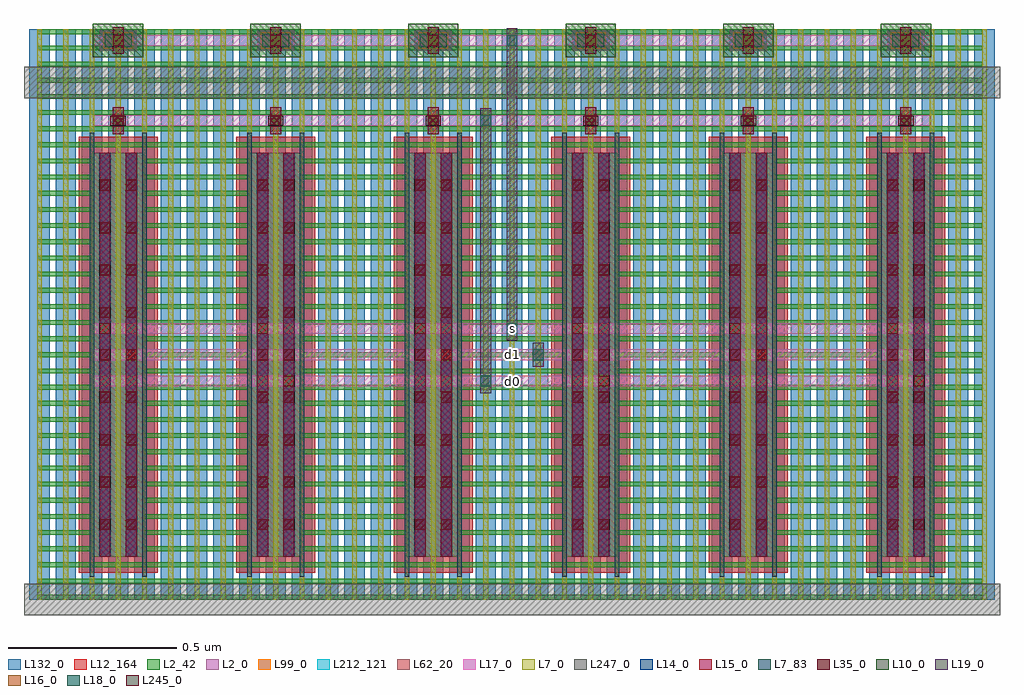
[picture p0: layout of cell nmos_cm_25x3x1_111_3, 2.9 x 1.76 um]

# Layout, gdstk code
import gdstk
lib = gdstk.Library(unit=1e-6, precision=1e-12)
def R(c, l, rs):  # rectangles x0, y0, x1, y1
    for r in rs: c.add(gdstk.rectangle(r[:2], r[2:], *l))
def A(c, l, x, y, w, h, nx, ny, dx, dy):  # array of equal rectangles
    R(c, l, [(x+i*dx, y+j*dy, x+i*dx+w, y+j*dy+h) for i in range(nx) for j in range(ny)])
L2_0 = (2, 0)
L2_42 = (2, 42)
L7_0 = (7, 0)
L7_83 = (7, 83)
L10_0 = (10, 0)
L12_164 = (12, 164)
L14_0 = (14, 0)
L15_0 = (15, 0)
L16_0 = (16, 0)
L17_0 = (17, 0)
L18_0 = (18, 0)
L19_0 = (19, 0)
L35_0 = (35, 0)
L62_20 = (62, 20)
L99_0 = (99, 0)
L132_0 = (132, 0)
L212_121 = (212, 121)
L245_0 = (245, 0)
L247_0 = (247, 0)

nmos_cm_25x3x1_111_3 = lib.new_cell('nmos_cm_25x3x1_111_3')
A(nmos_cm_25x3x1_111_3, L2_0, 0.186, 0.127, 0.156, 1.2, 6, 1, 0.468, 0)
A(nmos_cm_25x3x1_111_3, L2_0, 0.209, 1.631, 0.11, 0.06, 6, 1, 0.468, 0)
A(nmos_cm_25x3x1_111_3, L2_42, 0.023, 0, 2.808, 0.014, 1, 36, 0, 0.048)
A(nmos_cm_25x3x1_111_3, L7_0, 0.023, 0, 0.014, 1.694, 37, 1, 0.078, 0)
R(nmos_cm_25x3x1_111_3, L7_83, [(0.179,0.067,0.193,1.387), (0.335,0.067,0.349,1.387), (0.647,0.067,0.661,1.387), (0.803,0.067,0.817,1.387), (1.115,0.067,1.129,1.387), (1.271,0.067,1.285,1.387), (1.583,0.067,1.597,1.387), (1.739,0.067,1.753,1.387), (2.051,0.067,2.065,1.387), (2.207,0.067,2.221,1.387), (2.519,0.067,2.533,1.387), (2.675,0.067,2.689,1.387)])
A(nmos_cm_25x3x1_111_3, L10_0, 0.189, 1.611, 0.15, 0.1, 6, 1, 0.468, 0)
A(nmos_cm_25x3x1_111_3, L12_164, 0.147, 0.079, 0.234, 1.296, 6, 1, 0.468, 0)
A(nmos_cm_25x3x1_111_3, L14_0, 0.224, 1.641, 0.08, 0.04, 6, 1, 0.468, 0)
R(nmos_cm_25x3x1_111_3, L14_0, [(0.208,0.127,0.242,1.327), (0.286,0.127,0.32,1.327), (0.676,0.127,0.71,1.327), (0.754,0.127,0.788,1.327), (1.144,0.127,1.178,1.327), (1.222,0.127,1.256,1.327), (1.612,0.127,1.646,1.327), (1.69,0.127,1.724,1.327), (2.08,0.127,2.114,1.327), (2.158,0.127,2.192,1.327), (2.548,0.127,2.582,1.327), (2.626,0.127,2.66,1.327)])
A(nmos_cm_25x3x1_111_3, L15_0, 0.248, 1.382, 0.032, 0.08, 6, 2, 0.468, 0.239)
R(nmos_cm_25x3x1_111_3, L15_0, [(0.209,0.127,0.241,1.327), (0.287,0.127,0.319,1.327), (0.677,0.127,0.709,1.327), (0.755,0.127,0.787,1.327), (1.145,0.127,1.177,1.327), (1.223,0.127,1.255,1.327), (1.613,0.127,1.645,1.327), (1.691,0.127,1.723,1.327), (2.081,0.127,2.113,1.327), (2.159,0.127,2.191,1.327), (2.549,0.127,2.581,1.327), (2.627,0.127,2.659,1.327)])
A(nmos_cm_25x3x1_111_3, L16_0, 0.755, 0.633, 0.032, 0.032, 3, 1, 0.936, 0)
A(nmos_cm_25x3x1_111_3, L16_0, 0.287, 0.711, 0.032, 0.032, 3, 1, 0.936, 0)
A(nmos_cm_25x3x1_111_3, L16_0, 0.209, 0.789, 0.032, 0.032, 6, 1, 0.468, 0)
A(nmos_cm_25x3x1_111_3, L16_0, 0.248, 1.407, 0.032, 0.032, 6, 2, 0.468, 0.238)
A(nmos_cm_25x3x1_111_3, L17_0, 0.189, 0.633, 0.15, 0.032, 6, 3, 0.468, 0.078)
A(nmos_cm_25x3x1_111_3, L17_0, 0.329, 0.633, 0.338, 0.032, 1, 3, 0, 0.078)
A(nmos_cm_25x3x1_111_3, L17_0, 0.189, 1.407, 0.15, 0.032, 6, 2, 0.468, 0.238)
R(nmos_cm_25x3x1_111_3, L17_0, [(0.797,0.633,1.135,0.665), (0.797,0.633,1.135,0.665), (1.265,0.633,1.603,0.665), (1.265,0.633,1.603,0.665), (1.265,0.633,1.603,0.665), (1.733,0.633,2.071,0.665), (1.733,0.633,2.071,0.665), (1.733,0.633,2.071,0.665), (1.733,0.633,2.071,0.665), (2.201,0.633,2.539,0.665), (2.201,0.633,2.539,0.665), (2.201,0.633,2.539,0.665), (2.201,0.633,2.539,0.665), (2.201,0.633,2.539,0.665), (0.797,0.711,1.135,0.743), (0.797,0.711,1.135,0.743), (1.265,0.711,1.603,0.743), (1.265,0.711,1.603,0.743), (1.265,0.711,1.603,0.743), (1.733,0.711,2.071,0.743), (1.733,0.711,2.071,0.743), (1.733,0.711,2.071,0.743), (1.733,0.711,2.071,0.743), (2.201,0.711,2.539,0.743), (2.201,0.711,2.539,0.743), (2.201,0.711,2.539,0.743), (2.201,0.711,2.539,0.743), (2.201,0.711,2.539,0.743), (0.797,0.789,1.135,0.821), (0.797,0.789,1.135,0.821), (1.265,0.789,1.603,0.821), (1.265,0.789,1.603,0.821), (1.265,0.789,1.603,0.821), (1.733,0.789,2.071,0.821), (1.733,0.789,2.071,0.821), (1.733,0.789,2.071,0.821), (1.733,0.789,2.071,0.821), (2.201,0.789,2.539,0.821), (2.201,0.789,2.539,0.821), (2.201,0.789,2.539,0.821), (2.201,0.789,2.539,0.821), (2.201,0.789,2.539,0.821), (0.329,1.407,0.667,1.439), (0.797,1.407,1.135,1.439), (0.797,1.407,1.135,1.439), (1.265,1.407,1.603,1.439), (1.265,1.407,1.603,1.439), (1.265,1.407,1.603,1.439), (1.733,1.407,2.071,1.439), (1.733,1.407,2.071,1.439), (1.733,1.407,2.071,1.439), (1.733,1.407,2.071,1.439), (2.201,1.407,2.539,1.439), (2.201,1.407,2.539,1.439), (2.201,1.407,2.539,1.439), (2.201,1.407,2.539,1.439), (2.201,1.407,2.539,1.439), (0.329,1.645,0.667,1.677), (0.797,1.645,1.135,1.677), (0.797,1.645,1.135,1.677), (1.265,1.645,1.603,1.677), (1.265,1.645,1.603,1.677), (1.265,1.645,1.603,1.677), (1.733,1.645,2.071,1.677), (1.733,1.645,2.071,1.677), (1.733,1.645,2.071,1.677), (1.733,1.645,2.071,1.677), (2.201,1.645,2.539,1.677), (2.201,1.645,2.539,1.677), (2.201,1.645,2.539,1.677), (2.201,1.645,2.539,1.677), (2.201,1.645,2.539,1.677)])
R(nmos_cm_25x3x1_111_3, L18_0, [(1.34,0.633,1.372,0.665), (1.34,0.633,1.372,0.665), (1.496,0.711,1.528,0.743), (1.496,0.711,1.528,0.743), (1.418,0.789,1.45,0.821), (1.418,0.789,1.45,0.821), (1.34,1.407,1.372,1.439), (1.34,1.407,1.372,1.439), (1.418,1.645,1.45,1.677), (1.418,1.645,1.45,1.677)])
R(nmos_cm_25x3x1_111_3, L19_0, [(1.34,0.613,1.372,1.459), (1.496,0.691,1.528,0.763), (1.418,0.769,1.45,1.697)])
A(nmos_cm_25x3x1_111_3, L35_0, 0.209, 0.207, 0.032, 0.032, 1, 9, 0, 0.126)
A(nmos_cm_25x3x1_111_3, L35_0, 0.287, 0.207, 0.032, 0.032, 1, 9, 0, 0.126)
A(nmos_cm_25x3x1_111_3, L35_0, 0.677, 0.207, 0.032, 0.032, 1, 9, 0, 0.126)
A(nmos_cm_25x3x1_111_3, L35_0, 0.755, 0.207, 0.032, 0.032, 1, 9, 0, 0.126)
A(nmos_cm_25x3x1_111_3, L35_0, 1.145, 0.207, 0.032, 0.032, 1, 9, 0, 0.126)
A(nmos_cm_25x3x1_111_3, L35_0, 1.223, 0.207, 0.032, 0.032, 1, 9, 0, 0.126)
A(nmos_cm_25x3x1_111_3, L35_0, 1.613, 0.207, 0.032, 0.032, 1, 9, 0, 0.126)
A(nmos_cm_25x3x1_111_3, L35_0, 1.691, 0.207, 0.032, 0.032, 1, 9, 0, 0.126)
A(nmos_cm_25x3x1_111_3, L35_0, 2.081, 0.207, 0.032, 0.032, 1, 9, 0, 0.126)
A(nmos_cm_25x3x1_111_3, L35_0, 2.159, 0.207, 0.032, 0.032, 1, 9, 0, 0.126)
A(nmos_cm_25x3x1_111_3, L35_0, 2.549, 0.207, 0.032, 0.032, 1, 9, 0, 0.126)
A(nmos_cm_25x3x1_111_3, L35_0, 2.627, 0.207, 0.032, 0.032, 1, 9, 0, 0.126)
A(nmos_cm_25x3x1_111_3, L35_0, 0.248, 1.406, 0.032, 0.032, 6, 2, 0.468, 0.239)
A(nmos_cm_25x3x1_111_3, L62_20, 0.186, 0.127, 0.156, 1.2, 6, 1, 0.468, 0)
A(nmos_cm_25x3x1_111_3, L99_0, 0.186, 0.127, 0.156, 1.2, 6, 1, 0.468, 0)
A(nmos_cm_25x3x1_111_3, L99_0, 0.219, 1.636, 0.09, 0.05, 6, 1, 0.468, 0)
A(nmos_cm_25x3x1_111_3, L132_0, 0, 0, 0.06, 1.694, 37, 1, 0.078, 0)
A(nmos_cm_25x3x1_111_3, L212_121, 0.186, 0.127, 0.156, 1.2, 6, 1, 0.468, 0)
A(nmos_cm_25x3x1_111_3, L245_0, 0.241, 1.407, 0.046, 0.03, 6, 1, 0.468, 0)
A(nmos_cm_25x3x1_111_3, L247_0, -0.016, -0.047, 0.56, 0.094, 6, 2, 0.468, 1.536)
nmos_cm_25x3x1_111_3.add(gdstk.Label('s', (1.434,0.805), layer=16, texttype=20))
nmos_cm_25x3x1_111_3.add(gdstk.Label('d1', (1.434,0.727), layer=16, texttype=20))
nmos_cm_25x3x1_111_3.add(gdstk.Label('d0', (1.434,0.649), layer=16, texttype=20))

lib.write_gds('nmos_cm_25x3x1_111_3.gds')
